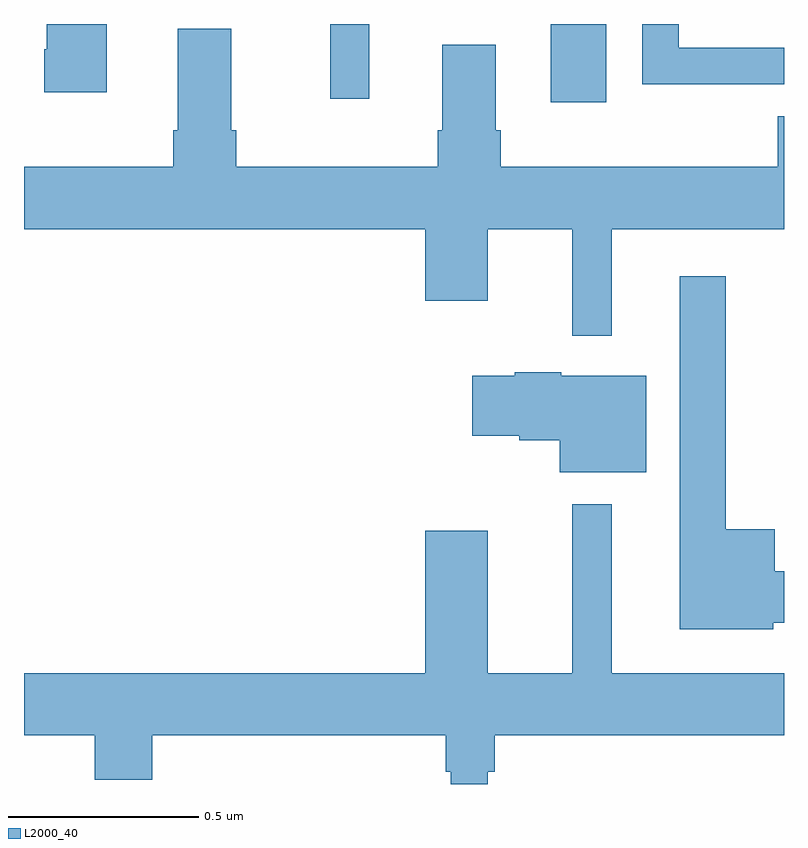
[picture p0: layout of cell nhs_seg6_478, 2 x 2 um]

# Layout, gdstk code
import gdstk
lib = gdstk.Library(unit=1e-6, precision=1e-09)
def R(c, l, rs):  # rectangles x0, y0, x1, y1
    for r in rs: c.add(gdstk.rectangle(r[:2], r[2:], *l))
def P(c, l, *ps):  # polygons
    for p in ps: c.add(gdstk.Polygon(p, *l))
L2000_40 = (2000, 40)

nhs_seg6_478 = lib.new_cell('nhs_seg6_478')
R(nhs_seg6_478, L2000_40, [(117.386,990.294,117.532,990.5), (116.806,990.303,116.909,990.5)])
P(nhs_seg6_478, L2000_40, [(117.899,990.342),(118,990.342),(118,990.438),(117.723,990.438),(117.723,990.5),(117.627,990.5),(117.627,990.341),(117.899,990.341)],
  [(116.218,990.5),(116.06,990.5),(116.06,990.433),(116.053,990.433),(116.053,990.321),(116.218,990.321)],
  [(117.547,989.96),(118,989.96),(118,990.257),(117.983,990.257),(117.983,990.124),(117.254,990.124),(117.254,990.22),(117.241,990.22),(117.241,990.445),(117.101,990.445),(117.101,990.22),(117.089,990.22),(117.089,990.124),(116.558,990.124),(116.558,990.22),(116.545,990.22),(116.545,990.487),(116.405,990.487),(116.405,990.22),(116.393,990.22),(116.393,990.124),(116,990.124),(116,989.96),(117.056,989.96),(117.056,989.772),(117.22,989.772),(117.22,989.96),(117.443,989.96),(117.443,989.679),(117.547,989.679)],
  [(117.972,988.925),(118,988.925),(118,989.06),(117.976,989.06),(117.976,989.17),(117.847,989.17),(117.847,989.836),(117.725,989.836),(117.725,988.907),(117.972,988.907)],
  [(117.637,989.575),(117.414,989.575),(117.414,989.583),(117.292,989.583),(117.292,989.575),(117.18,989.575),(117.18,989.417),(117.303,989.417),(117.303,989.405),(117.41,989.405),(117.41,989.321),(117.637,989.321)],
  [(117.22,988.532),(117.239,988.532),(117.239,988.628),(118,988.628),(118,988.792),(117.547,988.792),(117.547,989.236),(117.443,989.236),(117.443,988.792),(117.22,988.792),(117.22,989.167),(117.056,989.167),(117.056,988.792),(116,988.792),(116,988.628),(116.186,988.628),(116.186,988.511),(116.338,988.511),(116.338,988.628),(117.11,988.628),(117.11,988.532),(117.123,988.532),(117.123,988.5),(117.22,988.5)])

lib.write_gds('nhs_seg6_478.gds')
